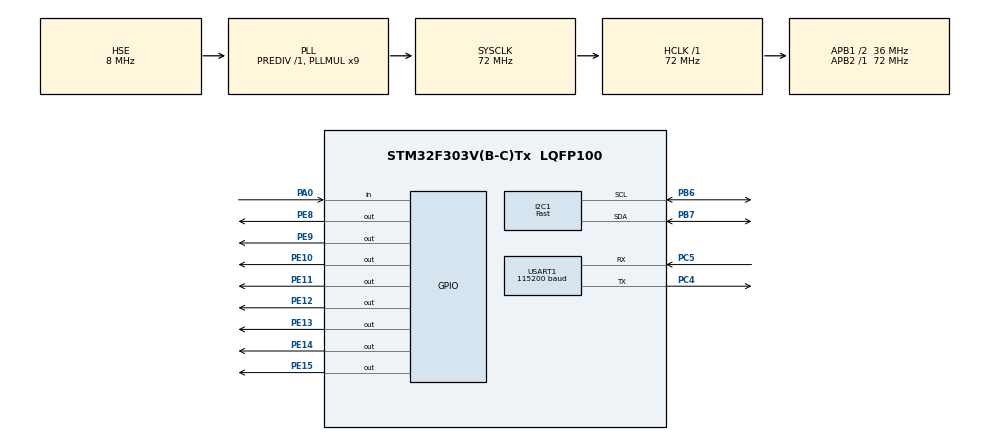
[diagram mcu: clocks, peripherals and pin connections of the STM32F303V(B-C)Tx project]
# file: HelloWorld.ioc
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FREERTOS.Tasks01=defaultTask,0,128,StartDefaultTask,Default,NULL,Dynamic,NULL,NULL
FREERTOS.configTOTAL_HEAP_SIZE=30720
FREERTOS.configUSE_NEWLIB_REENTRANT=1
I2C1.I2C_Speed_Mode=I2C_Fast
I2C1.Timing=0x0000020B
Mcu.Family=STM32F3
Mcu.Name=STM32F303V(B-C)Tx
Mcu.Package=LQFP100
NVIC.PriorityGroup=NVIC_PRIORITYGROUP_4
NVIC.TIM1_UP_TIM16_IRQn=true\:15\:0\:false\:false\:true\:false\:false\:true\:true
NVIC.TimeBase=TIM1_UP_TIM16_IRQn
NVIC.TimeBaseIP=TIM1
PA0.Signal=GPIO_Input
PB6.Mode=I2C
PB6.Signal=I2C1_SCL
PB7.Mode=I2C
PB7.Signal=I2C1_SDA
PC4.Mode=Asynchronous
PC4.Signal=USART1_TX
PC5.Mode=Asynchronous
PC5.Signal=USART1_RX
PE10.Signal=GPIO_Output
PE11.Signal=GPIO_Output
PE12.Signal=GPIO_Output
PE13.Signal=GPIO_Output
PE14.Signal=GPIO_Output
PE15.Signal=GPIO_Output
PE8.Signal=GPIO_Output
PE9.Signal=GPIO_Output
PF0-OSC_IN.Mode=HSE-External-Clock-Source
PF0-OSC_IN.Signal=RCC_OSC_IN
ProjectManager.HeapSize=0x200
ProjectManager.StackSize=0x400
ProjectManager.TargetToolchain=STM32CubeIDE
RCC.AHBFreq_Value=72000000
RCC.APB1CLKDivider=RCC_HCLK_DIV2
RCC.APB1Freq_Value=36000000
RCC.APB1TimFreq_Value=72000000
RCC.APB2Freq_Value=72000000
RCC.APB2TimFreq_Value=72000000
RCC.CortexFreq_Value=72000000
RCC.HCLKFreq_Value=72000000
RCC.HSE_VALUE=8000000
RCC.HSI_VALUE=8000000
RCC.LSE_VALUE=32768
RCC.PLLMUL=RCC_PLL_MUL9
RCC.PLLSourceVirtual=RCC_PLLSOURCE_HSE
RCC.SYSCLKFreq_VALUE=72000000
RCC.SYSCLKSourceVirtual=RCC_SYSCLKSOURCE_PLLCLK
RCC.USBFreq_Value=72000000
USART1.BaudRate=115200
USART1.VirtualMode-Asynchronous=VM_ASYNC
VP_FREERTOS_VS_CMSIS_V1.Mode=CMSIS_V1
VP_SYS_VS_tim1.Mode=TIM1
board=custom

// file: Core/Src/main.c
/* USER CODE BEGIN Header */
/**
  ******************************************************************************
  * @file           : main.c
  * @brief          : Main program body
  ******************************************************************************
  * @attention
  *
  * Copyright (c) 2022 STMicroelectronics.
  * All rights reserved.
  *
  * This software is licensed under terms that can be found in the LICENSE file
  * in the root directory of this software component.
  * If no LICENSE file comes with this software, it is provided AS-IS.
  *
  ******************************************************************************
  */
/* USER CODE END Header */
#include "main.h"
#include "cmsis_os.h"

/* USER CODE BEGIN Includes */
#include "cpp_main.h"
#include "stdbool.h"
#include "stdio.h"
/* USER CODE END Includes */

 I2C_HandleTypeDef hi2c1;

UART_HandleTypeDef huart1;

osThreadId defaultTaskHandle;

void SystemClock_Config(void);
static void MX_GPIO_Init(void);
static void MX_USART1_UART_Init(void);
static void MX_I2C1_Init(void);
void StartDefaultTask(void const * argument);

/* USER CODE BEGIN PFP */
void key_press_monitor(void const * argument);
/* USER CODE END PFP */

/* USER CODE BEGIN 0 */
int __io_putchar(int ch)
{
    HAL_UART_Transmit(&huart1,(uint8_t *)&ch, 1, 0xFF);
    return ch;
}
QueueHandle_t msgQ;
/* USER CODE END 0 */

int main(void)
{
  /* USER CODE BEGIN 1 */
    __HAL_RCC_HSI_ENABLE();
    __HAL_RCC_SYSCLK_CONFIG(RCC_SYSCLKSOURCE_HSI);
  /* USER CODE END 1 */

  /* MCU Configuration--------------------------------------------------------*/

  /* Reset of all peripherals, Initializes the Flash interface and the Systick. */
  HAL_Init();

  /* Configure the system clock */
  SystemClock_Config();

  /* Initialize all configured peripherals */
  MX_GPIO_Init();
  MX_USART1_UART_Init();
  MX_I2C1_Init();

  /* USER CODE BEGIN RTOS_QUEUES */
    msgQ = xQueueCreate(3, sizeof(int));
    /* add queues, ... */
  /* USER CODE END RTOS_QUEUES */

  /* Create the thread(s) */
  /* definition and creation of defaultTask */
  osThreadDef(defaultTask, StartDefaultTask, osPriorityNormal, 0, 128);
  defaultTaskHandle = osThreadCreate(osThread(defaultTask), NULL);

  /* USER CODE BEGIN RTOS_THREADS */
    osThreadDef(key_press, key_press_monitor, osPriorityNormal, 0, 128);
    osThreadId key_pressHandle = osThreadCreate(osThread(key_press), NULL);

    //osThreadDef(compass, StartCompassTask, osPriorityNormal, 0, 128);
    //osThreadId compassHandle = osThreadCreate(osThread(compass), NULL);
    /* add threads, ... */
  /* USER CODE END RTOS_THREADS */

  /* Start scheduler */
  osKernelStart();

  /* We should never get here as control is now taken by the scheduler */
  /* Infinite loop */
  /* USER CODE BEGIN WHILE */
    while (1)
    {
        //cpp_main();
    /* USER CODE END WHILE */

    }
}

void SystemClock_Config(void)
{
  RCC_OscInitTypeDef RCC_OscInitStruct = {0};
  RCC_ClkInitTypeDef RCC_ClkInitStruct = {0};
  RCC_PeriphCLKInitTypeDef PeriphClkInit = {0};

  /** Initializes the RCC Oscillators according to the specified parameters
  * in the RCC_OscInitTypeDef structure.
  */
  RCC_OscInitStruct.OscillatorType = RCC_OSCILLATORTYPE_HSI|RCC_OSCILLATORTYPE_HSE;
  RCC_OscInitStruct.HSEState = RCC_HSE_BYPASS;
  RCC_OscInitStruct.HSEPredivValue = RCC_HSE_PREDIV_DIV1;
  RCC_OscInitStruct.HSIState = RCC_HSI_ON;
  RCC_OscInitStruct.HSICalibrationValue = RCC_HSICALIBRATION_DEFAULT;
  RCC_OscInitStruct.PLL.PLLState = RCC_PLL_ON;
  RCC_OscInitStruct.PLL.PLLSource = RCC_PLLSOURCE_HSE;
  RCC_OscInitStruct.PLL.PLLMUL = RCC_PLL_MUL9;
  if (HAL_RCC_OscConfig(&RCC_OscInitStruct) != HAL_OK)
  {
    Error_Handler();
  }

  /** Initializes the CPU, AHB and APB buses clocks
  */
  RCC_ClkInitStruct.ClockType = RCC_CLOCKTYPE_HCLK|RCC_CLOCKTYPE_SYSCLK
                              |RCC_CLOCKTYPE_PCLK1|RCC_CLOCKTYPE_PCLK2;
  RCC_ClkInitStruct.SYSCLKSource = RCC_SYSCLKSOURCE_PLLCLK;
  RCC_ClkInitStruct.AHBCLKDivider = RCC_SYSCLK_DIV1;
  RCC_ClkInitStruct.APB1CLKDivider = RCC_HCLK_DIV2;
  RCC_ClkInitStruct.APB2CLKDivider = RCC_HCLK_DIV1;

  if (HAL_RCC_ClockConfig(&RCC_ClkInitStruct, FLASH_LATENCY_2) != HAL_OK)
  {
    Error_Handler();
  }
  PeriphClkInit.PeriphClockSelection = RCC_PERIPHCLK_USART1|RCC_PERIPHCLK_I2C1;
  PeriphClkInit.Usart1ClockSelection = RCC_USART1CLKSOURCE_PCLK2;
  PeriphClkInit.I2c1ClockSelection = RCC_I2C1CLKSOURCE_HSI;
  if (HAL_RCCEx_PeriphCLKConfig(&PeriphClkInit) != HAL_OK)
  {
    Error_Handler();
  }
}

static void MX_I2C1_Init(void)
{

  hi2c1.Instance = I2C1;
  hi2c1.Init.Timing = 0x0000020B;
  hi2c1.Init.OwnAddress1 = 0;
  hi2c1.Init.AddressingMode = I2C_ADDRESSINGMODE_7BIT;
  hi2c1.Init.DualAddressMode = I2C_DUALADDRESS_DISABLE;
  hi2c1.Init.OwnAddress2 = 0;
  hi2c1.Init.OwnAddress2Masks = I2C_OA2_NOMASK;
  hi2c1.Init.GeneralCallMode = I2C_GENERALCALL_DISABLE;
  hi2c1.Init.NoStretchMode = I2C_NOSTRETCH_DISABLE;
  if (HAL_I2C_Init(&hi2c1) != HAL_OK)
  {
    Error_Handler();
  }

  /** Configure Analogue filter
  */
  if (HAL_I2CEx_ConfigAnalogFilter(&hi2c1, I2C_ANALOGFILTER_ENABLE) != HAL_OK)
  {
    Error_Handler();
  }

  /** Configure Digital filter
  */
  if (HAL_I2CEx_ConfigDigitalFilter(&hi2c1, 0) != HAL_OK)
  {
    Error_Handler();
  }

}

static void MX_USART1_UART_Init(void)
{

  huart1.Instance = USART1;
  huart1.Init.BaudRate = 115200;
  huart1.Init.WordLength = UART_WORDLENGTH_8B;
  huart1.Init.StopBits = UART_STOPBITS_1;
  huart1.Init.Parity = UART_PARITY_NONE;
  huart1.Init.Mode = UART_MODE_TX_RX;
  huart1.Init.HwFlowCtl = UART_HWCONTROL_NONE;
  huart1.Init.OverSampling = UART_OVERSAMPLING_16;
  huart1.Init.OneBitSampling = UART_ONE_BIT_SAMPLE_DISABLE;
  huart1.AdvancedInit.AdvFeatureInit = UART_ADVFEATURE_NO_INIT;
  if (HAL_UART_Init(&huart1) != HAL_OK)
  {
    Error_Handler();
  }

}

static void MX_GPIO_Init(void)
{
  GPIO_InitTypeDef GPIO_InitStruct = {0};

  /* GPIO Ports Clock Enable */
  __HAL_RCC_GPIOF_CLK_ENABLE();
  __HAL_RCC_GPIOA_CLK_ENABLE();
  __HAL_RCC_GPIOC_CLK_ENABLE();
  __HAL_RCC_GPIOE_CLK_ENABLE();
  __HAL_RCC_GPIOB_CLK_ENABLE();

  /*Configure GPIO pin Output Level */
  HAL_GPIO_WritePin(GPIOE, GPIO_PIN_8|GPIO_PIN_9|GPIO_PIN_10|GPIO_PIN_11
                          |GPIO_PIN_12|GPIO_PIN_13|GPIO_PIN_14|GPIO_PIN_15, GPIO_PIN_RESET);

  /*Configure GPIO pin : PA0 */
  GPIO_InitStruct.Pin = GPIO_PIN_0;
  GPIO_InitStruct.Mode = GPIO_MODE_INPUT;
  GPIO_InitStruct.Pull = GPIO_NOPULL;
  HAL_GPIO_Init(GPIOA, &GPIO_InitStruct);

  /*Configure GPIO pins : PE8 PE9 PE10 PE11
                           PE12 PE13 PE14 PE15 */
  GPIO_InitStruct.Pin = GPIO_PIN_8|GPIO_PIN_9|GPIO_PIN_10|GPIO_PIN_11
                          |GPIO_PIN_12|GPIO_PIN_13|GPIO_PIN_14|GPIO_PIN_15;
  GPIO_InitStruct.Mode = GPIO_MODE_OUTPUT_PP;
  GPIO_InitStruct.Pull = GPIO_NOPULL;
  GPIO_InitStruct.Speed = GPIO_SPEED_FREQ_LOW;
  HAL_GPIO_Init(GPIOE, &GPIO_InitStruct);

}

/* USER CODE BEGIN 4 */
void key_press_monitor(void const * argument)
{
    int in1_0 = 0, in1_1 = 0;
    const int refDebounce = 10;
    bool oldStatus = false;
    for(;;)
    {
        bool in1 = HAL_GPIO_ReadPin(GPIOA, GPIO_PIN_0);
        if(in1){
            in1_0 = 0;
            in1_1++;
            if(in1_1 >= refDebounce){
                if(oldStatus == false)
                {
                    oldStatus = true;
                    int dat = 1;
                    xQueueSend(msgQ, &dat, 0);
                }
                in1_1 = refDebounce + 1;
            }
        }
        else{
            in1_0++;
            in1_1 = 0;
            if (in1_0 > refDebounce){
                if(oldStatus == true){
                    oldStatus = false;
                    int dat = 0;
                    xQueueSend(msgQ,&dat,0);
                }
                in1_0 = refDebounce + 1;
            }
        }
        osDelay(1);
    }
}
/* USER CODE END 4 */

void StartDefaultTask(void const * argument)
{
  /* USER CODE BEGIN 5 */
    /* Infinite loop */
    //circle_blink();
    StartCompassTask();
    //calibration();
  /* USER CODE END 5 */
}

void HAL_TIM_PeriodElapsedCallback(TIM_HandleTypeDef *htim)
{
  if (htim->Instance == TIM1) {
    HAL_IncTick();
  }
}

void Error_Handler(void)
{
    __disable_irq();
    while (1)
    {
    }
}
